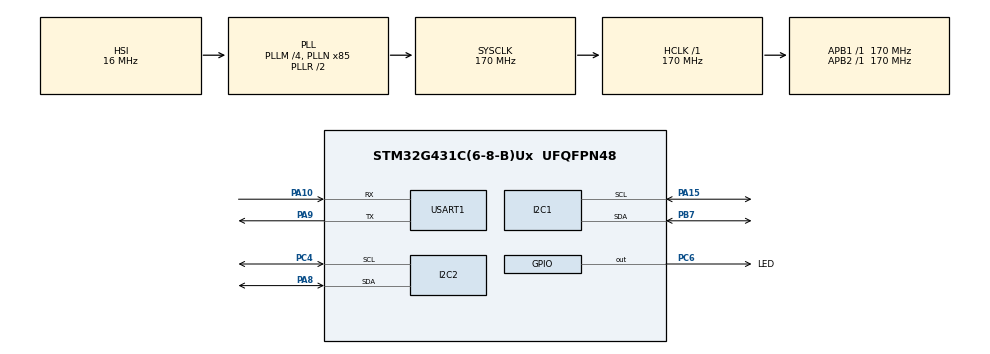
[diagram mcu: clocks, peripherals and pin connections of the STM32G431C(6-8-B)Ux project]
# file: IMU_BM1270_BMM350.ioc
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Dma.Request0=TIM1_UP
Dma.Request1=USART1_RX
Dma.Request2=USART1_TX
Dma.TIM1_UP.0.Direction=DMA_PERIPH_TO_MEMORY
Dma.TIM1_UP.0.EventEnable=DISABLE
Dma.TIM1_UP.0.Instance=DMA1_Channel2
Dma.TIM1_UP.0.MemDataAlignment=DMA_MDATAALIGN_HALFWORD
Dma.TIM1_UP.0.MemInc=DMA_MINC_ENABLE
Dma.TIM1_UP.0.Mode=DMA_NORMAL
Dma.TIM1_UP.0.PeriphDataAlignment=DMA_PDATAALIGN_HALFWORD
Dma.TIM1_UP.0.PeriphInc=DMA_PINC_DISABLE
Dma.TIM1_UP.0.Polarity=HAL_DMAMUX_REQ_GEN_RISING
Dma.TIM1_UP.0.Priority=DMA_PRIORITY_MEDIUM
Dma.TIM1_UP.0.RequestNumber=1
Dma.TIM1_UP.0.SignalID=NONE
Dma.TIM1_UP.0.SyncEnable=DISABLE
Dma.TIM1_UP.0.SyncPolarity=HAL_DMAMUX_SYNC_NO_EVENT
Dma.TIM1_UP.0.SyncRequestNumber=1
Dma.TIM1_UP.0.SyncSignalID=NONE
Dma.USART1_RX.1.Direction=DMA_PERIPH_TO_MEMORY
Dma.USART1_RX.1.EventEnable=DISABLE
Dma.USART1_RX.1.Instance=DMA1_Channel1
Dma.USART1_RX.1.MemDataAlignment=DMA_MDATAALIGN_BYTE
Dma.USART1_RX.1.MemInc=DMA_MINC_ENABLE
Dma.USART1_RX.1.Mode=DMA_NORMAL
Dma.USART1_RX.1.PeriphDataAlignment=DMA_PDATAALIGN_BYTE
Dma.USART1_RX.1.PeriphInc=DMA_PINC_DISABLE
Dma.USART1_RX.1.Polarity=HAL_DMAMUX_REQ_GEN_RISING
Dma.USART1_RX.1.Priority=DMA_PRIORITY_MEDIUM
Dma.USART1_RX.1.RequestNumber=1
Dma.USART1_RX.1.SignalID=NONE
Dma.USART1_RX.1.SyncEnable=DISABLE
Dma.USART1_RX.1.SyncPolarity=HAL_DMAMUX_SYNC_NO_EVENT
Dma.USART1_RX.1.SyncRequestNumber=1
Dma.USART1_RX.1.SyncSignalID=NONE
Dma.USART1_TX.2.Direction=DMA_MEMORY_TO_PERIPH
Dma.USART1_TX.2.EventEnable=DISABLE
Dma.USART1_TX.2.Instance=DMA1_Channel3
Dma.USART1_TX.2.MemDataAlignment=DMA_MDATAALIGN_BYTE
Dma.USART1_TX.2.MemInc=DMA_MINC_ENABLE
Dma.USART1_TX.2.Mode=DMA_NORMAL
Dma.USART1_TX.2.PeriphDataAlignment=DMA_PDATAALIGN_BYTE
Dma.USART1_TX.2.PeriphInc=DMA_PINC_DISABLE
Dma.USART1_TX.2.Polarity=HAL_DMAMUX_REQ_GEN_RISING
Dma.USART1_TX.2.Priority=DMA_PRIORITY_MEDIUM
Dma.USART1_TX.2.RequestNumber=1
Dma.USART1_TX.2.SignalID=NONE
Dma.USART1_TX.2.SyncEnable=DISABLE
Dma.USART1_TX.2.SyncPolarity=HAL_DMAMUX_SYNC_NO_EVENT
Dma.USART1_TX.2.SyncRequestNumber=1
Dma.USART1_TX.2.SyncSignalID=NONE
I2C1.Timing=0x40B285C2
I2C2.Timing=0x40B285C2
Mcu.Family=STM32G4
Mcu.Name=STM32G431C(6-8-B)Ux
Mcu.Package=UFQFPN48
NVIC.DMA1_Channel1_IRQn=true\:0\:0\:false\:false\:true\:false\:true\:true
NVIC.DMA1_Channel2_IRQn=true\:0\:0\:false\:false\:true\:false\:true\:true
NVIC.DMA1_Channel3_IRQn=true\:0\:0\:false\:false\:true\:false\:true\:true
NVIC.PriorityGroup=NVIC_PRIORITYGROUP_4
NVIC.TIM1_UP_TIM16_IRQn=true\:0\:0\:false\:false\:true\:true\:true\:true
NVIC.USART1_IRQn=true\:0\:0\:false\:false\:true\:true\:true\:true
PA10.Mode=Asynchronous
PA10.Signal=USART1_RX
PA13.Mode=Serial_Wire
PA13.Signal=SYS_JTMS-SWDIO
PA14.Mode=Serial_Wire
PA14.Signal=SYS_JTCK-SWCLK
PA15.Mode=I2C
PA15.Signal=I2C1_SCL
PA8.Mode=I2C
PA8.Signal=I2C2_SDA
PA9.Mode=Asynchronous
PA9.Signal=USART1_TX
PB7.Mode=I2C
PB7.Signal=I2C1_SDA
PC4.Mode=I2C
PC4.Signal=I2C2_SCL
PC6.GPIO_Label=LED
PC6.Signal=GPIO_Output
PF0-OSC_IN.Mode=HSE-External-Oscillator
PF0-OSC_IN.Signal=RCC_OSC_IN
PF1-OSC_OUT.Mode=HSE-External-Oscillator
PF1-OSC_OUT.Signal=RCC_OSC_OUT
ProjectManager.HeapSize=0x200
ProjectManager.StackSize=0x400
ProjectManager.TargetToolchain=MDK-ARM V5.32
RCC.ADC12Freq_Value=170000000
RCC.AHBFreq_Value=170000000
RCC.APB1Freq_Value=170000000
RCC.APB1TimFreq_Value=170000000
RCC.APB2Freq_Value=170000000
RCC.APB2TimFreq_Value=170000000
RCC.CortexFreq_Value=170000000
RCC.EXTERNAL_CLOCK_VALUE=12288000
RCC.HCLKFreq_Value=170000000
RCC.HSE_VALUE=8000000
RCC.HSI48_VALUE=48000000
RCC.HSI_VALUE=16000000
RCC.LSE_VALUE=32768
RCC.PLLM=RCC_PLLM_DIV4
RCC.PLLN=85
RCC.SYSCLKFreq_VALUE=170000000
RCC.SYSCLKSource=RCC_SYSCLKSOURCE_PLLCLK
RCC.USBFreq_Value=170000000
RCC.VCOOutputFreq_Value=340000000
TIM1.CounterMode=TIM_COUNTERMODE_UP
TIM1.PeriodNoDither=9999
TIM1.Prescaler=16999
USART1.VirtualMode-Asynchronous=VM_ASYNC
VP_SYS_VS_DBSignals.Mode=DisableDeadBatterySignals
VP_TIM1_VS_ClockSourceINT.Mode=Internal
board=custom

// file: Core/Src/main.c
/* USER CODE BEGIN Header */
/**
  ******************************************************************************
  * @file           : main.c
  * @brief          : Main program body
  ******************************************************************************
  * @attention
  *
  * Copyright (c) 2025 STMicroelectronics.
  * All rights reserved.
  *
  * This software is licensed under terms that can be found in the LICENSE file
  * in the root directory of this software component.
  * If no LICENSE file comes with this software, it is provided AS-IS.
  *
  ******************************************************************************
  */
/* USER CODE END Header */
#include "main.h"
#include "dma.h"
#include "i2c.h"
#include "tim.h"
#include "usart.h"
#include "gpio.h"

/* USER CODE BEGIN Includes */
#include <string.h>
#include "usart_printf.h"
#include "delay.h"

#include "bmp5_port.h"
/* USER CODE END Includes */

/* USER CODE BEGIN PV */
uint8_t rx_buf[RX_BUF_SIZE];
uint8_t tx_buf[TX_BUF_SIZE];
volatile uint8_t tx_busy = 0; // 发送忙标志
/* USER CODE END PV */

void SystemClock_Config(void);

int main(void)
{

  /* USER CODE BEGIN 1 */
	#pragma import(__use_no_semihosting)
  /* USER CODE END 1 */

  /* MCU Configuration--------------------------------------------------------*/

  /* Reset of all peripherals, Initializes the Flash interface and the Systick. */
  HAL_Init();

  /* Configure the system clock */
  SystemClock_Config();

  /* USER CODE BEGIN SysInit */
	printf("Power-on delay... waiting for peripherals to stabilize.\r\n");
  HAL_Delay(500); // 尝试一个比较长的延时，比如500ms
  /* USER CODE END SysInit */

  /* Initialize all configured peripherals */
  MX_GPIO_Init();
  MX_DMA_Init();
  MX_USART1_UART_Init();
  MX_TIM1_Init();
  MX_I2C1_Init();
  MX_I2C2_Init();
  /* USER CODE BEGIN 2 */
	// 启动串口DMA接收
  HAL_UART_Receive_DMA(&huart1, rx_buf, RX_BUF_SIZE);

  // 启动定时器中断
  HAL_TIM_Base_Start_IT(&htim1);
  //启动串口中断
	__HAL_UART_ENABLE_IT(&huart1, UART_IT_IDLE);

	DWT_Delay_Init(); // 初始化DWT延时
	usart_printf_init(&huart1);

//	/* 初始化BMP580传感器 */
//	if (BMP580_Init() != BMP5_OK)
//	{
//			printf("FATAL: BMP580 module failed to initialize. Altitude data will be unavailable.\r\n");
//
//	}

  /* USER CODE END 2 */

  /* Infinite loop */
  while (1)
  {

    /* USER CODE BEGIN 3 */

//		HAL_GPIO_WritePin(GPIOC,GPIO_PIN_6,GPIO_PIN_SET);
//		delay_ms(500);
//		HAL_GPIO_WritePin(GPIOC,GPIO_PIN_6,GPIO_PIN_RESET);
//		delay_ms(500);

		IMU_INIT_GETDATA();

    }
  /* USER CODE END 3 */
}

void SystemClock_Config(void)
{
  RCC_OscInitTypeDef RCC_OscInitStruct = {0};
  RCC_ClkInitTypeDef RCC_ClkInitStruct = {0};

  /** Configure the main internal regulator output voltage
  */
  HAL_PWREx_ControlVoltageScaling(PWR_REGULATOR_VOLTAGE_SCALE1_BOOST);

  /** Initializes the RCC Oscillators according to the specified parameters
  * in the RCC_OscInitTypeDef structure.
  */
  RCC_OscInitStruct.OscillatorType = RCC_OSCILLATORTYPE_HSI;
  RCC_OscInitStruct.HSIState = RCC_HSI_ON;
  RCC_OscInitStruct.HSICalibrationValue = RCC_HSICALIBRATION_DEFAULT;
  RCC_OscInitStruct.PLL.PLLState = RCC_PLL_ON;
  RCC_OscInitStruct.PLL.PLLSource = RCC_PLLSOURCE_HSI;
  RCC_OscInitStruct.PLL.PLLM = RCC_PLLM_DIV4;
  RCC_OscInitStruct.PLL.PLLN = 85;
  RCC_OscInitStruct.PLL.PLLP = RCC_PLLP_DIV2;
  RCC_OscInitStruct.PLL.PLLQ = RCC_PLLQ_DIV2;
  RCC_OscInitStruct.PLL.PLLR = RCC_PLLR_DIV2;
  if (HAL_RCC_OscConfig(&RCC_OscInitStruct) != HAL_OK)
  {
    Error_Handler();
  }

  /** Initializes the CPU, AHB and APB buses clocks
  */
  RCC_ClkInitStruct.ClockType = RCC_CLOCKTYPE_HCLK|RCC_CLOCKTYPE_SYSCLK
                              |RCC_CLOCKTYPE_PCLK1|RCC_CLOCKTYPE_PCLK2;
  RCC_ClkInitStruct.SYSCLKSource = RCC_SYSCLKSOURCE_PLLCLK;
  RCC_ClkInitStruct.AHBCLKDivider = RCC_SYSCLK_DIV1;
  RCC_ClkInitStruct.APB1CLKDivider = RCC_HCLK_DIV1;
  RCC_ClkInitStruct.APB2CLKDivider = RCC_HCLK_DIV1;

  if (HAL_RCC_ClockConfig(&RCC_ClkInitStruct, FLASH_LATENCY_4) != HAL_OK)
  {
    Error_Handler();
  }
}

/* USER CODE BEGIN 4 */
void UART1_IDLE_Callback(uint16_t len)
{
    if(len > 0)
    {
        HAL_UART_Transmit(&huart1, rx_buf, len, 100);
				memset(rx_buf, 0, RX_BUF_SIZE); // 清空缓存
    }
}

/*
void HAL_UART_TxCpltCallback(UART_HandleTypeDef *huart)
{
    if(huart->Instance == USART1)
    {
        tx_busy = 0;
    }
}
*/
/*
void HAL_TIM_PeriodElapsedCallback(TIM_HandleTypeDef *htim)
{
    if(htim->Instance == TIM1)
    {

        if(tx_busy == 0)
        {
            tx_busy = 1;
					  strcpy((char*)tx_buf, "Timer DMA Send!\r\n");
            HAL_UART_Transmit_DMA(&huart1, tx_buf, strlen((char*)tx_buf));
        }
    }
}
*/

/* USER CODE END 4 */

void Error_Handler(void)
{
  __disable_irq();
  while (1)
  {
  }
}
